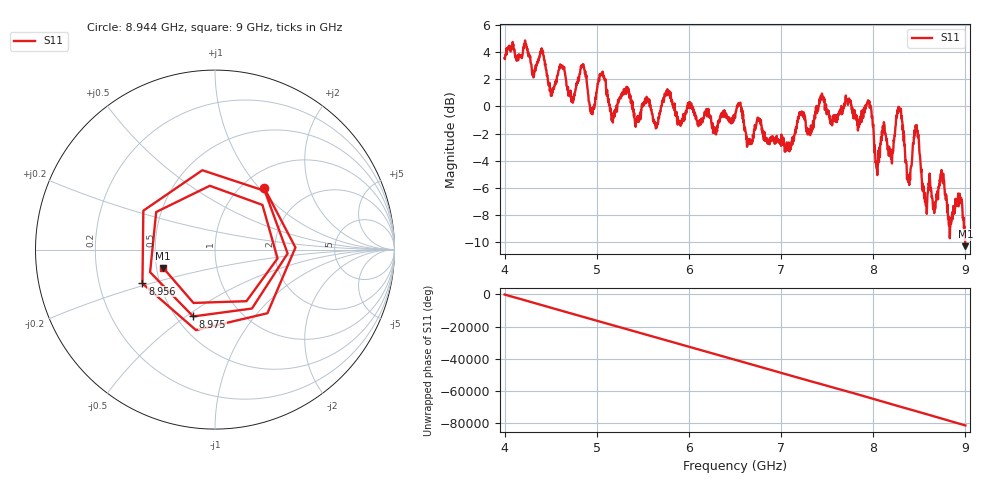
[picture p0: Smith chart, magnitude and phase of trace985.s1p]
! Created with skrf 1.8.0 (http://scikit-rf.org).
# Hz S RI R 50.0
!freq ReS11 ImS11
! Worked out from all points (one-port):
!   1601 points, 4 GHz to 9 GHz, reference 50 ohm
!   lowest |S11| = -10.3 dB at 9 GHz (marker M1), VSWR 1.88, Z = 27.1 - j6.12 ohm
!   |S11| at or under -10 dB: 8.997859 GHz to end of sweep
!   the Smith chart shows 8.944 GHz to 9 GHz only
!   S11 on the Smith chart (normalised r, x): 8.944 GHz: 1.24, +1.07; 8.956 GHz: 0.40, -0.19; 8.975 GHz: 0.61, -0.53; 9 GHz: 0.54, -0.12
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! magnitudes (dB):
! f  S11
! 4 GHz  3.6
! 4.403 GHz  4.3
! 4.516 GHz  1.0
! 4.625 GHz  2.9
! 4.731 GHz  0.7
! 4.85 GHz  2.9
! 4.947 GHz  -0.5
! 5.053 GHz  2.5
! 5.169 GHz  -0.6
! 5.25 GHz  0.7
! 5.778 GHz  1.1
! 5.875 GHz  -0.7
! 6.5 GHz  -0.8
! 7.125 GHz  -2.3
! 7.441 GHz  0.8
! 7.75 GHz  0.3
! 7.956 GHz  0.3
! 8.047 GHz  -4.6
! 8.109 GHz  -1.5
! 8.2 GHz  -3.6
! 8.288 GHz  -0.2
! 8.375 GHz  -5.4
! 8.466 GHz  -1.5
! 8.562 GHz  -7.0
! 8.944 GHz  -7.1
! 8.956 GHz  -7.0
! 8.975 GHz  -8.1
! 9 GHz  -10.3
